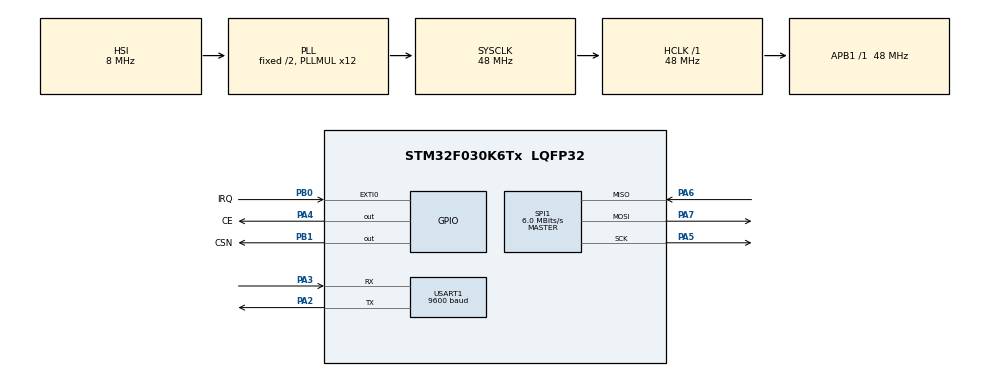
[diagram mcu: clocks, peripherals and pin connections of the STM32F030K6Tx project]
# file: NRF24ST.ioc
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Dma.Request0=USART1_RX
Dma.USART1_RX.0.Direction=DMA_PERIPH_TO_MEMORY
Dma.USART1_RX.0.Instance=DMA1_Channel3
Dma.USART1_RX.0.MemDataAlignment=DMA_MDATAALIGN_BYTE
Dma.USART1_RX.0.MemInc=DMA_MINC_ENABLE
Dma.USART1_RX.0.Mode=DMA_CIRCULAR
Dma.USART1_RX.0.PeriphDataAlignment=DMA_PDATAALIGN_BYTE
Dma.USART1_RX.0.PeriphInc=DMA_PINC_DISABLE
Dma.USART1_RX.0.Priority=DMA_PRIORITY_LOW
Mcu.Family=STM32F0
Mcu.Name=STM32F030K6Tx
Mcu.Package=LQFP32
NVIC.DMA1_Channel2_3_IRQn=true\:0\:0\:false\:false\:true\:true\:true
PA13.Mode=Serial_Wire
PA13.Signal=SYS_SWDIO
PA14.Mode=Serial_Wire
PA14.Signal=SYS_SWCLK
PA2.Mode=Asynchronous
PA2.Signal=USART1_TX
PA3.Mode=Asynchronous
PA3.Signal=USART1_RX
PA4.GPIO_Label=CE
PA4.GPIO_Speed=GPIO_SPEED_FREQ_MEDIUM
PA4.Signal=GPIO_Output
PA5.Mode=Full_Duplex_Master
PA5.Signal=SPI1_SCK
PA6.Mode=Full_Duplex_Master
PA6.Signal=SPI1_MISO
PA7.Mode=Full_Duplex_Master
PA7.Signal=SPI1_MOSI
PB0.GPIO_Label=IRQ
PB0.Signal=GPXTI0
PB1.GPIO_Label=CSN
PB1.GPIO_Speed=GPIO_SPEED_FREQ_MEDIUM
PB1.Signal=GPIO_Output
ProjectManager.HeapSize=0x200
ProjectManager.StackSize=0x400
ProjectManager.TargetToolchain=STM32CubeIDE
RCC.AHBFreq_Value=48000000
RCC.APB1Freq_Value=48000000
RCC.APB1TimFreq_Value=48000000
RCC.HCLKFreq_Value=48000000
RCC.PLLMUL=RCC_PLL_MUL12
RCC.SYSCLKFreq_VALUE=48000000
RCC.SYSCLKSource=RCC_SYSCLKSOURCE_PLLCLK
SPI1.BaudRatePrescaler=SPI_BAUDRATEPRESCALER_8
SPI1.CalculateBaudRate=6.0 MBits/s
SPI1.DataSize=SPI_DATASIZE_8BIT
SPI1.Direction=SPI_DIRECTION_2LINES
SPI1.Mode=SPI_MODE_MASTER
SPI1.VirtualType=VM_MASTER
USART1.BaudRate=9600
USART1.VirtualMode-Asynchronous=VM_ASYNC
board=NRF24ST

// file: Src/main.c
/* USER CODE BEGIN Header */
/**
  ******************************************************************************
  * @file           : main.c
  * @brief          : Main program body
  ******************************************************************************
  * @attention
  *
  * <h2><center>&copy; Copyright (c) 2019 STMicroelectronics.
  * All rights reserved.</center></h2>
  *
  * This software component is licensed by ST under BSD 3-Clause license,
  * the "License"; You may not use this file except in compliance with the
  * License. You may obtain a copy of the License at:
  *                        opensource.org/licenses/BSD-3-Clause
  *
  ******************************************************************************
  */
/* USER CODE END Header */

#include "main.h"
#include "dma.h"
#include "spi.h"
#include "usart.h"
#include "gpio.h"

/* USER CODE BEGIN Includes */
#include "nrf24.h"
/* USER CODE END Includes */

/* USER CODE BEGIN PV */
/* Private variables ---------------------------------------------------------*/

#define NRF24_ADDRESS_WIDTH      5
#define NRF24_PAYLOAD_WIDTH      10 //bytes
uint8_t NRF24_Address[NRF24_ADDRESS_WIDTH] ={ 0x0A, 0x0B, 0x0C, 0x0D, 0x0E };
uint8_t NRF24_RX_Buffer[NRF24_PAYLOAD_WIDTH];

/* USER CODE END PV */

void SystemClock_Config(void);
/* USER CODE BEGIN PFP */
/* Private function prototypes -----------------------------------------------*/

/* USER CODE END PFP */

/* USER CODE BEGIN 0 */
uint8_t NRF24_Config()
{
	uint8_t status = 0;
	NRF24_Init();
	NRF24_Set_TX_Address(NRF24_Address, NRF24_ADDRESS_WIDTH);
	NRF24_Set_Pipe_Address(Pipe0, NRF24_Address, NRF24_ADDRESS_WIDTH);
	NRF24_Set_Pipe_Data_Width(Pipe0, NRF24_PAYLOAD_WIDTH);
	NRF24_Enable_Auto_ACK(Pipe0);                       // Enable Auto.Ack:Pipe0
	NRF24_Enable_Pipe(Pipe0);                                    // Enable Pipe0
	NRF24_Set_Retries(D1000us, 15);               // 500µs + 86µs, 10 retrans...
	NRF24_Set_RF_Channel(100);                          // Select RF channel 123
	NRF24_Set_Power_Level(PWR_0dB);                               //TX_PWR:0dBm,
	NRF24_Set_Data_Rate(Data_Rate_256Kbs);                      //Datarate:2Mbps
	NRF24_Set_CRC_Length(Two_Byte_CRC);                   // enable CRC(2 bytes)
	NRF24_Set_Mode(RX_Mode);                                          //Prim:TX.
	NRF24_Power_Up();                                         // Set PWR_UP bit,

	NRF24_Data_Rate Data_Rate = NRF24_Read_Data_Rate();
	uint8_t RF_Channel = NRF24_Read_RF_Channel();
	if (Data_Rate == Data_Rate_256Kbs && RF_Channel == 100)
	{
		status = 1;
	}
	else
	{
		status = 0;
	}
	return status;
}
/* USER CODE END 0 */

int main(void)
{

  /* MCU Configuration--------------------------------------------------------*/

  /* Reset of all peripherals, Initializes the Flash interface and the Systick. */
  HAL_Init();

  /* Configure the system clock */
  SystemClock_Config();

  /* Initialize all configured peripherals */
  MX_GPIO_Init();
  MX_DMA_Init();
  MX_SPI1_Init();
  MX_USART1_UART_Init();
  /* USER CODE BEGIN 2 */
	NRF24_Config();
  /* USER CODE END 2 */

  /* Infinite loop */
	while (1)
	{

    /* USER CODE BEGIN 3 */
		if (NRF24_Read_Status() == Rx_Data_Received)
		{
			NRF24_Clear_IRQ(Rx_Data_Received);   //clear  status
			NRF24_Read_Buffer(RD_RX_PLOAD, NRF24_RX_Buffer,
			NRF24_PAYLOAD_WIDTH);
		}
	}
  /* USER CODE END 3 */
}

void SystemClock_Config(void)
{
  RCC_OscInitTypeDef RCC_OscInitStruct = {0};
  RCC_ClkInitTypeDef RCC_ClkInitStruct = {0};
  RCC_PeriphCLKInitTypeDef PeriphClkInit = {0};

  /** Initializes the CPU, AHB and APB busses clocks
  */
  RCC_OscInitStruct.OscillatorType = RCC_OSCILLATORTYPE_HSI;
  RCC_OscInitStruct.HSIState = RCC_HSI_ON;
  RCC_OscInitStruct.HSICalibrationValue = RCC_HSICALIBRATION_DEFAULT;
  RCC_OscInitStruct.PLL.PLLState = RCC_PLL_ON;
  RCC_OscInitStruct.PLL.PLLSource = RCC_PLLSOURCE_HSI;
  RCC_OscInitStruct.PLL.PLLMUL = RCC_PLL_MUL12;
  RCC_OscInitStruct.PLL.PREDIV = RCC_PREDIV_DIV1;
  if (HAL_RCC_OscConfig(&RCC_OscInitStruct) != HAL_OK)
  {
    Error_Handler();
  }
  /** Initializes the CPU, AHB and APB busses clocks
  */
  RCC_ClkInitStruct.ClockType = RCC_CLOCKTYPE_HCLK|RCC_CLOCKTYPE_SYSCLK
                              |RCC_CLOCKTYPE_PCLK1;
  RCC_ClkInitStruct.SYSCLKSource = RCC_SYSCLKSOURCE_PLLCLK;
  RCC_ClkInitStruct.AHBCLKDivider = RCC_SYSCLK_DIV1;
  RCC_ClkInitStruct.APB1CLKDivider = RCC_HCLK_DIV1;

  if (HAL_RCC_ClockConfig(&RCC_ClkInitStruct, FLASH_LATENCY_1) != HAL_OK)
  {
    Error_Handler();
  }
  PeriphClkInit.PeriphClockSelection = RCC_PERIPHCLK_USART1;
  PeriphClkInit.Usart1ClockSelection = RCC_USART1CLKSOURCE_PCLK1;
  if (HAL_RCCEx_PeriphCLKConfig(&PeriphClkInit) != HAL_OK)
  {
    Error_Handler();
  }
}

void Error_Handler(void)
{
	while (1)
	{
	}
}

/************************ (C) COPYRIGHT STMicroelectronics *****END OF FILE****/
